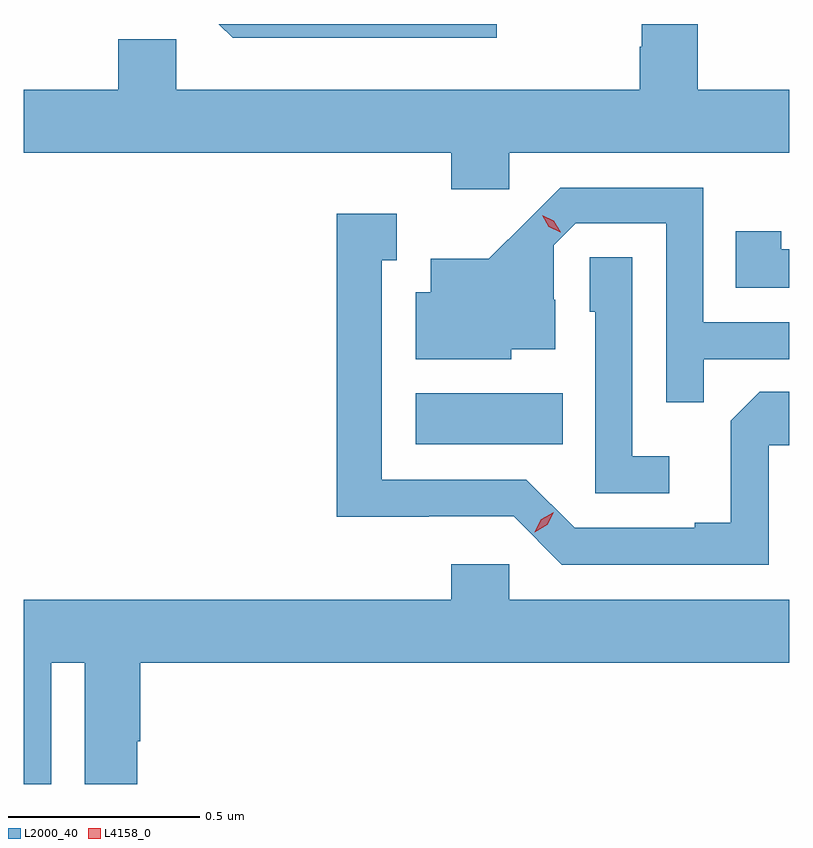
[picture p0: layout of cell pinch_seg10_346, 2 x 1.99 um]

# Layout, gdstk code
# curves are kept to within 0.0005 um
import gdstk
lib = gdstk.Library(unit=1e-6, precision=1e-09)
def R(c, l, rs):  # rectangles x0, y0, x1, y1
    for r in rs: c.add(gdstk.rectangle(r[:2], r[2:], *l))
def P(c, l, *ps):  # polygons
    for p in ps: c.add(gdstk.Polygon(p, *l))
L2000_40 = (2000, 40)
L4158_0 = (4158, 0)

pinch_seg10_346 = lib.new_cell('pinch_seg10_346')
R(pinch_seg10_346, L2000_40, [(499.454,1286.234,499.838,1286.368)])
P(pinch_seg10_346, L2000_40, [(499.698,1286.996),(500.43,1286.996),(500.43,1287.16),(500.191,1287.16),(500.191,1287.332),(500.044,1287.332),(500.044,1287.273),(500.039,1287.273),(500.039,1287.16),(498.828,1287.16),(498.828,1287.292),(498.677,1287.292),(498.677,1287.16),(498.43,1287.16),(498.43,1286.996),(499.547,1286.996),(499.547,1286.901),(499.698,1286.901)],
  [(499.666,1287.332),(498.94,1287.332),(498.976,1287.296),(499.666,1287.296)],
  [(500.207,1286.457),(500.43,1286.457),(500.43,1286.553),(500.205,1286.553),(500.205,1286.904),(499.832,1286.904),(499.645,1286.719),(499.493,1286.719),(499.493,1286.632),(499.454,1286.632),(499.454,1286.456),(499.704,1286.456),(499.704,1286.483),(499.819,1286.483),(499.819,1286.612),(499.815,1286.612),(499.815,1286.754),(499.872,1286.811),(500.109,1286.811),(500.109,1286.344),(500.207,1286.344)],
  [(500.376,1286.232),(500.43,1286.232),(500.43,1286.372),(500.353,1286.372),(500.277,1286.296),(500.277,1286.029),(500.183,1286.029),(500.183,1286.016),(499.869,1286.016),(499.743,1286.142),(499.366,1286.142),(499.366,1286.715),(499.405,1286.715),(499.405,1286.836),(499.248,1286.836),(499.248,1286.045),(499.488,1286.045),(499.488,1286.046),(499.71,1286.046),(499.836,1285.92),(500.376,1285.92)],
  [(500.43,1286.744),(500.409,1286.744),(500.409,1286.791),(500.29,1286.791),(500.29,1286.643),(500.43,1286.643)],
  [(500.116,1286.203),(500.019,1286.203),(500.019,1286.723),(499.908,1286.723),(499.908,1286.58),(499.923,1286.58),(499.923,1286.106),(500.116,1286.106)],
  [(498.502,1285.664),(498.59,1285.664),(498.59,1285.347),(498.727,1285.347),(498.727,1285.459),(498.734,1285.459),(498.734,1285.664),(500.43,1285.664),(500.43,1285.828),(499.698,1285.828),(499.698,1285.921),(499.547,1285.921),(499.547,1285.828),(498.43,1285.828),(498.43,1285.347),(498.502,1285.347)])
P(pinch_seg10_346, L4158_0, [(499.832,1286.788),(499.802,1286.803),(499.784,1286.833),(499.784,1286.833),(499.784,1286.833),(499.815,1286.818),(499.833,1286.788),(499.833,1286.788)],
  [(499.765,1286.005),(499.765,1286.006),(499.782,1286.038),(499.814,1286.057),(499.814,1286.057),(499.814,1286.057),(499.797,1286.024),(499.765,1286.005)])

lib.write_gds('pinch_seg10_346.gds')
